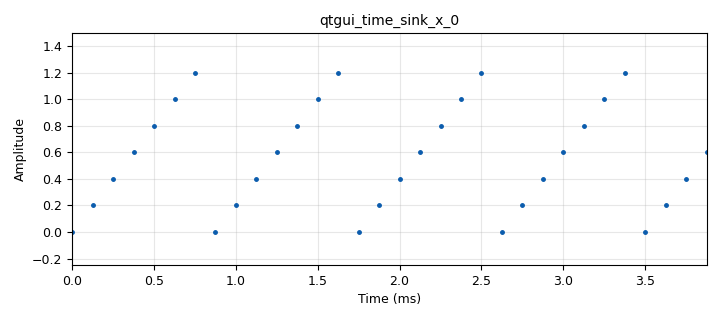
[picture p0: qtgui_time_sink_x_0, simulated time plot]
options:
  parameters:
    author: Marcelo Doallo
    catch_exceptions: 'False'
    generate_options: qt_gui
    id: Vector_Source_Test
    output_language: python
    title: Vector Source Block Test
  states: {}

blocks:
- name: samp_rate
  id: variable
  parameters:
    value: '8000'
  states: {}
- name: samp_rate_qtgui_label
  id: variable_qtgui_label
  parameters:
    gui_hint: 0,0,1,2
    label: 'Sample rate [m/Sg.]: '
    type: int
    value: samp_rate
  states: {}
- name: blocks_throttle_0
  id: blocks_throttle
  parameters:
    samples_per_second: samp_rate
    type: float
  states: {}
- name: blocks_vector_source_x_0
  id: blocks_vector_source_x
  parameters:
    repeat: 'True'
    type: float
    vector: (0,0.2, 0.4, 0.6,0.8,1,1.2)
  states: {}
- name: qtgui_time_sink_x_0
  id: qtgui_time_sink_x
  parameters:
    ctrlpanel: 'True'
    gui_hint: 1,0,6,7
    marker1: '0'
    size: 1024//32
    srate: samp_rate
    style1: '0'
    tr_level: '0.1'
    tr_mode: qtgui.TRIG_MODE_AUTO
    type: float
    ymax: '1.5'
    ymin: '-0.25'
  states: {}

connections:
- [blocks_vector_source_x_0, '0', blocks_throttle_0, '0']
- [blocks_vector_source_x_0, '0', qtgui_time_sink_x_0, '0']

metadata:
  file_format: 1
